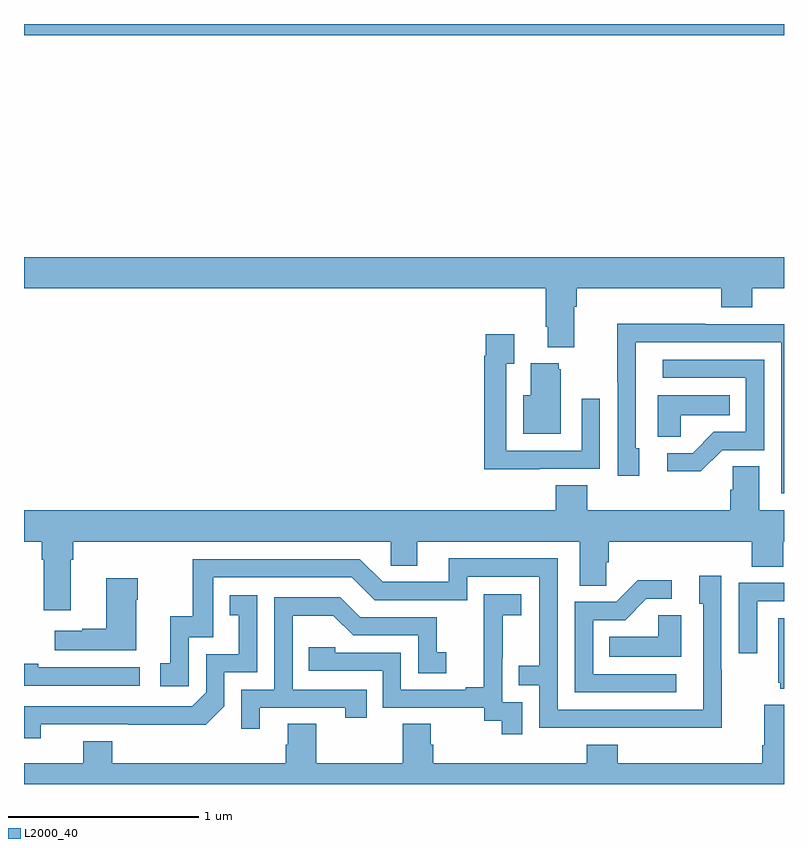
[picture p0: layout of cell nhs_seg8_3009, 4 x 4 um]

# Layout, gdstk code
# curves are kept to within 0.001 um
import gdstk
lib = gdstk.Library(unit=1e-6, precision=1e-09)
def R(c, l, rs):  # rectangles x0, y0, x1, y1
    for r in rs: c.add(gdstk.rectangle(r[:2], r[2:], *l))
def P(c, l, *ps):  # polygons
    for p in ps: c.add(gdstk.Polygon(p, *l))
L2000_40 = (2000, 40)

nhs_seg8_3009 = lib.new_cell('nhs_seg8_3009')
R(nhs_seg8_3009, L2000_40, [(299,1109.84,303,1109.9)])
P(nhs_seg8_3009, L2000_40, [(301.897,1108.412),(301.91,1108.412),(301.91,1108.508),(302.669,1108.508),(302.669,1108.409),(302.834,1108.409),(302.834,1108.508),(303,1108.508),(303,1108.672),(299,1108.672),(299,1108.508),(301.745,1108.508),(301.745,1108.306),(301.757,1108.306),(301.757,1108.199),(301.897,1108.199)],
  [(303,1108.32),(302.585,1108.32),(302.585,1108.322),(302.122,1108.322),(302.122,1108.015),(302.124,1108.015),(302.124,1107.522),(302.239,1107.522),(302.239,1107.666),(302.22,1107.666),(302.22,1108.224),(302.985,1108.224),(302.985,1107.429),(303,1107.429)],
  [(301.715,1107.558),(302.031,1107.558),(302.031,1107.928),(301.935,1107.928),(301.935,1107.654),(301.539,1107.654),(301.539,1108.111),(301.579,1108.111),(301.579,1108.267),(301.431,1108.267),(301.431,1108.154),(301.423,1108.154),(301.423,1107.557),(301.715,1107.557)],
  [(302.676,1107.657),(302.895,1107.657),(302.895,1108.134),(302.361,1108.134),(302.361,1108.038),(302.799,1108.038),(302.799,1107.753),(302.63,1107.753),(302.519,1107.642),(302.385,1107.642),(302.385,1107.545),(302.563,1107.545)],
  [(301.825,1108.083),(301.814,1108.083),(301.814,1108.114),(301.667,1108.114),(301.667,1107.946),(301.628,1107.946),(301.628,1107.743),(301.825,1107.743)],
  [(302.457,1107.842),(302.714,1107.842),(302.714,1107.946),(302.336,1107.946),(302.336,1107.727),(302.457,1107.727)],
  [(299,1107.176),(299.093,1107.176),(299.093,1107.08),(299.105,1107.08),(299.105,1106.814),(299.245,1106.814),(299.245,1107.08),(299.258,1107.08),(299.258,1107.176),(300.93,1107.176),(300.93,1107.049),(301.069,1107.049),(301.069,1107.176),(301.925,1107.176),(301.925,1106.944),(302.064,1106.944),(302.064,1107.067),(302.078,1107.067),(302.078,1107.176),(302.831,1107.176),(302.831,1107.043),(302.996,1107.043),(302.996,1107.176),(303,1107.176),(303,1107.34),(302.869,1107.34),(302.869,1107.572),(302.73,1107.572),(302.73,1107.449),(302.717,1107.449),(302.717,1107.34),(301.964,1107.34),(301.964,1107.473),(301.799,1107.473),(301.799,1107.34),(299,1107.34)],
  [(302.673,1106.501),(302.67,1106.501),(302.67,1106.995),(302.555,1106.995),(302.555,1106.85),(302.574,1106.85),(302.574,1106.292),(301.809,1106.292),(301.809,1107.087),(301.235,1107.087),(301.235,1106.964),(300.888,1106.964),(300.768,1107.084),(299.889,1107.084),(299.889,1106.782),(299.771,1106.782),(299.771,1106.535),(299.718,1106.535),(299.718,1106.415),(299.868,1106.415),(299.868,1106.673),(299.997,1106.673),(299.997,1106.988),(300.726,1106.988),(300.846,1106.868),(301.332,1106.868),(301.332,1106.991),(301.713,1106.991),(301.713,1106.522),(301.603,1106.522),(301.603,1106.421),(301.713,1106.421),(301.713,1106.196),(302.673,1106.195)],
  [(299.59,1106.87),(299.598,1106.87),(299.598,1106.983),(299.432,1106.983),(299.432,1106.717),(299.306,1106.717),(299.306,1106.707),(299.163,1106.707),(299.163,1106.603),(299.59,1106.603)],
  [(302.434,1106.478),(301.995,1106.478),(301.995,1106.763),(302.164,1106.763),(302.275,1106.874),(302.41,1106.874),(302.41,1106.972),(302.231,1106.972),(302.118,1106.859),(301.899,1106.859),(301.899,1106.382),(302.434,1106.382)],
  [(302.859,1106.862),(303,1106.862),(303,1106.958),(302.763,1106.958),(302.763,1106.589),(302.859,1106.589)],
  [(301.623,1106.331),(301.518,1106.331),(301.518,1106.561),(301.52,1106.561),(301.52,1106.789),(301.618,1106.789),(301.618,1106.899),(301.42,1106.899),(301.42,1106.693),(301.421,1106.693),(301.421,1106.41),(301.325,1106.41),(301.325,1106.397),(300.984,1106.397),(300.984,1106.592),(300.639,1106.592),(300.639,1106.619),(300.499,1106.619),(300.499,1106.496),(300.888,1106.496),(300.888,1106.301),(301.422,1106.301),(301.422,1106.233),(301.515,1106.233),(301.515,1106.163),(301.623,1106.163)],
  [(299.088,1106.214),(299.956,1106.213),(300.054,1106.31),(300.054,1106.487),(300.228,1106.487),(300.228,1106.893),(300.082,1106.893),(300.082,1106.787),(300.131,1106.787),(300.131,1106.583),(299.958,1106.583),(299.958,1106.382),(299.886,1106.31),(299,1106.31),(299,1106.141),(299.088,1106.141)],
  [(300.241,1106.301),(300.692,1106.301),(300.692,1106.25),(300.803,1106.25),(300.803,1106.397),(300.414,1106.397),(300.414,1106.786),(300.628,1106.786),(300.732,1106.682),(301.074,1106.682),(301.074,1106.484),(301.222,1106.484),(301.222,1106.593),(301.173,1106.593),(301.173,1106.778),(300.769,1106.778),(300.664,1106.883),(300.318,1106.883),(300.318,1106.397),(300.144,1106.397),(300.144,1106.19),(300.241,1106.19)],
  [(302.458,1106.789),(302.337,1106.789),(302.337,1106.674),(302.08,1106.674),(302.08,1106.57),(302.458,1106.57)],
  [(303,1106.773),(302.969,1106.773),(302.969,1106.433),(302.981,1106.433),(302.981,1106.402),(303,1106.402)],
  [(299.608,1106.514),(299.075,1106.514),(299.075,1106.534),(299,1106.534),(299,1106.418),(299.608,1106.418)],
  [(303,1106.317),(302.897,1106.317),(302.897,1106.104),(302.885,1106.104),(302.885,1106.008),(302.126,1106.008),(302.126,1106.107),(301.961,1106.107),(301.961,1106.008),(301.154,1106.008),(301.154,1106.106),(301.141,1106.106),(301.141,1106.216),(300.994,1106.216),(300.994,1106.008),(300.537,1106.008),(300.537,1106.216),(300.389,1106.216),(300.389,1106.106),(300.377,1106.106),(300.377,1106.008),(299.465,1106.008),(299.465,1106.125),(299.312,1106.125),(299.312,1106.008),(299,1106.008),(299,1105.9),(303,1105.9)])

lib.write_gds('nhs_seg8_3009.gds')
